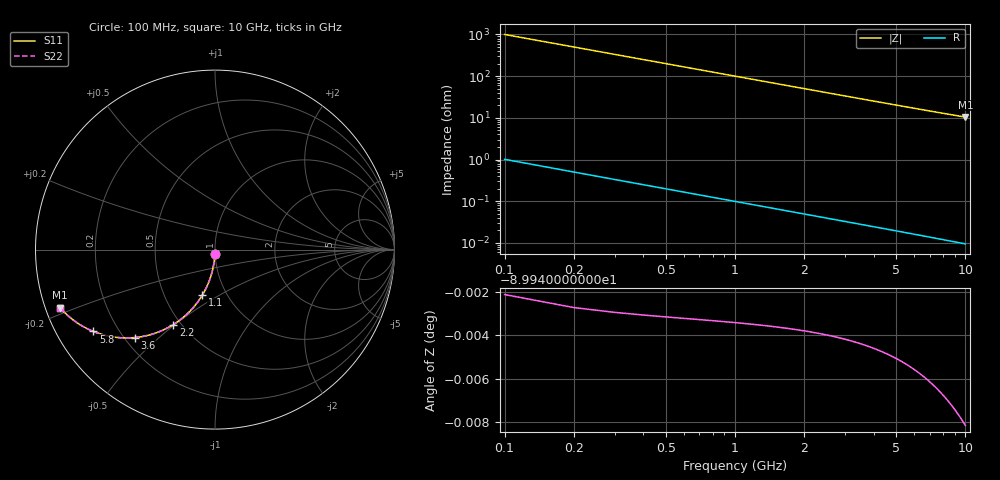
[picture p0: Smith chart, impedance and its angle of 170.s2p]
# Hz S RI R 50.00
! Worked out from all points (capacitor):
!   100 points, 100 MHz to 10 GHz, reference 50 ohm
!   read as one part in shunt: C = 1.59 pF near 100 MHz
!   lowest |Z| = 10.4 ohm at 10 GHz (marker M1)
!   S11 on the Smith chart (normalised r, x): 100 MHz: 1.00, -0.05; 1.1 GHz: 0.77, -0.42; 2.2 GHz: 0.46, -0.49; 3.6 GHz: 0.24, -0.42; 5.8 GHz: 0.11, -0.30; 10 GHz: 0.04, -0.18
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1e8  -0.000621 -0.0248  0.9993 -0.0252  0.9993 -0.0252  -0.000621 -0.0248
2e8  -0.00251 -0.0495  0.9974 -0.0502  0.9974 -0.0502  -0.00251 -0.0495
3e8  -0.00564 -0.074  0.9943 -0.0751  0.9943 -0.0751  -0.00564 -0.074
4e8  -0.00997 -0.0983  0.99 -0.0997  0.99 -0.0997  -0.00997 -0.0983
5e8  -0.0155 -0.1221  0.9845 -0.1239  0.9845 -0.1239  -0.0155 -0.1221
6e8  -0.0221 -0.1456  0.9778 -0.1477  0.9778 -0.1477  -0.0221 -0.1456
7e8  -0.0298 -0.1685  0.9701 -0.171  0.9701 -0.171  -0.0298 -0.1685
9e8  -0.0483 -0.2124  0.9516 -0.2156  0.9516 -0.2156  -0.0483 -0.2124
1.1e9  -0.0705 -0.2535  0.9295 -0.2574  0.9295 -0.2574  -0.0705 -0.2535
1.4e9  -0.1093 -0.309  0.8907 -0.314  0.8907 -0.314  -0.1093 -0.309
1.8e9  -0.1684 -0.3705  0.8315 -0.377  0.8315 -0.377  -0.1684 -0.3705
2.2e9  -0.2322 -0.4177  0.7677 -0.4257  0.7677 -0.4257  -0.2322 -0.4177
2.8e9  -0.3286 -0.4641  0.6713 -0.4743  0.6713 -0.4743  -0.3286 -0.4641
3.4e9  -0.419 -0.4867  0.5809 -0.4991  0.5809 -0.4991  -0.419 -0.4867
3.6e9  -0.447 -0.4901  0.5528 -0.5033  0.5528 -0.5033  -0.447 -0.4901
4.3e9  -0.5355 -0.4903  0.4643 -0.5061  0.4643 -0.5061  -0.5355 -0.4903
5.1e9  -0.6186 -0.4757  0.3811 -0.4946  0.3811 -0.4946  -0.6186 -0.4757
5.8e9  -0.6773 -0.4562  0.3224 -0.4777  0.3224 -0.4777  -0.6773 -0.4562
6.7e9  -0.7371 -0.4271  0.2625 -0.4521  0.2625 -0.4521  -0.7371 -0.4271
7.5e9  -0.7787 -0.4004  0.2209 -0.4286  0.2209 -0.4286  -0.7787 -0.4004
8.4e9  -0.8155 -0.3712  0.1839 -0.403  0.1839 -0.403  -0.8155 -0.3712
1e10  -0.8629 -0.3239  0.1363 -0.3622  0.1363 -0.3622  -0.8629 -0.3239
